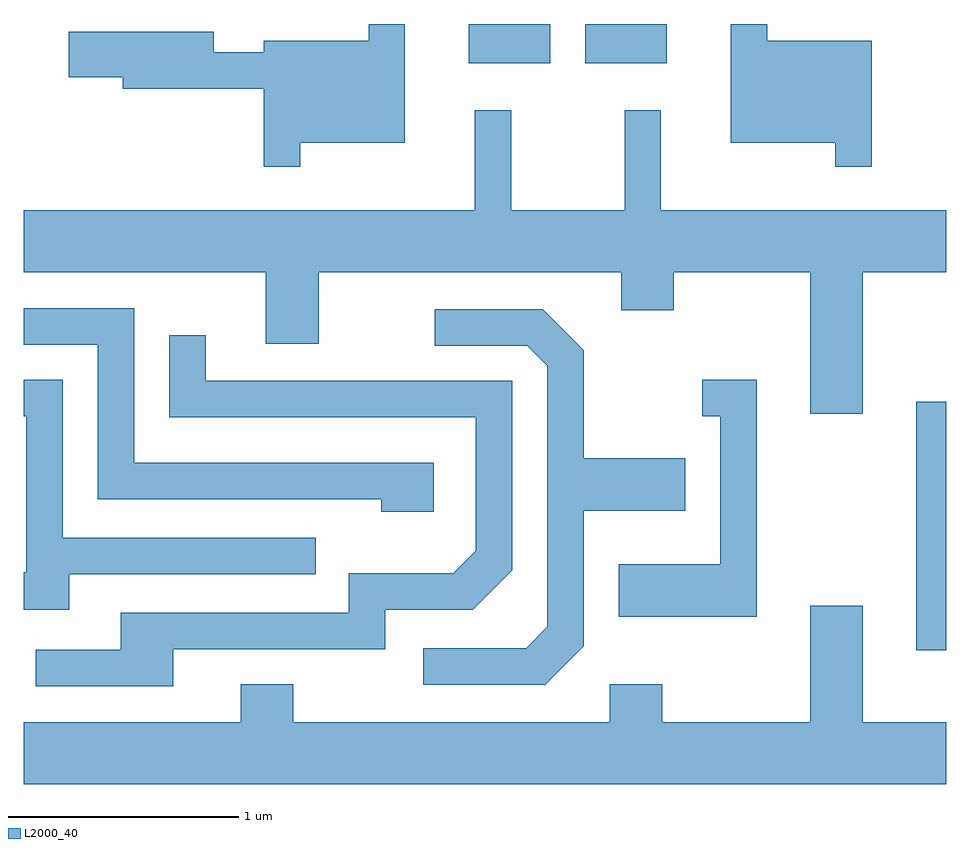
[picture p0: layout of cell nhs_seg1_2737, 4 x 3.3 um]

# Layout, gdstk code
import gdstk
lib = gdstk.Library(unit=1e-6, precision=1e-09)
def R(c, l, rs):  # rectangles x0, y0, x1, y1
    for r in rs: c.add(gdstk.rectangle(r[:2], r[2:], *l))
def P(c, l, *ps):  # polygons
    for p in ps: c.add(gdstk.Polygon(p, *l))
L2000_40 = (2000, 40)

nhs_seg1_2737 = lib.new_cell('nhs_seg1_2737')
R(nhs_seg1_2737, L2000_40, [(271.481,948.996,271.611,950.074), (269.541,951.541,269.894,951.712), (270.046,951.541,270.399,951.712)])
P(nhs_seg1_2737, L2000_40, [(268.809,951.196),(269.264,951.196),(269.264,951.712),(269.106,951.712),(269.106,951.639),(268.651,951.639),(268.651,951.589),(268.434,951.589),(268.434,951.679),(267.806,951.679),(267.806,951.481),(268.041,951.481),(268.041,951.431),(268.651,951.431),(268.651,951.093),(268.809,951.093)],
  [(271.289,951.639),(270.834,951.639),(270.834,951.712),(270.676,951.712),(270.676,951.196),(271.131,951.196),(271.131,951.093),(271.289,951.093)],
  [(271.249,950.636),(271.611,950.636),(271.611,950.904),(270.374,950.904),(270.374,951.338),(270.216,951.338),(270.216,950.904),(269.724,950.904),(269.724,951.338),(269.566,951.338),(269.566,950.904),(267.611,950.904),(267.611,950.636),(268.661,950.636),(268.661,950.326),(268.889,950.326),(268.889,950.636),(270.201,950.636),(270.201,950.471),(270.429,950.471),(270.429,950.636),(271.021,950.636),(271.021,950.021),(271.249,950.021)],
  [(269.389,949.809),(268.089,949.809),(268.089,950.479),(267.611,950.479),(267.611,950.321),(267.931,950.321),(267.931,949.651),(269.161,949.651),(269.161,949.596),(269.389,949.596)],
  [(270.039,949.014),(270.039,949.601),(270.479,949.601),(270.479,949.829),(270.039,949.829),(270.039,950.297),(269.862,950.474),(269.393,950.474),(269.393,950.316),(269.794,950.316),(269.881,950.229),(269.881,949.097),(269.789,949.004),(269.343,949.004),(269.343,948.846),(269.872,948.846)],
  [(268.259,949.001),(269.179,949.001),(269.179,949.171),(269.557,949.171),(269.729,949.344),(269.729,950.164),(268.399,950.164),(268.399,950.363),(268.241,950.363),(268.241,950.006),(269.571,950.006),(269.571,949.427),(269.474,949.329),(269.021,949.329),(269.021,949.159),(268.031,949.159),(268.031,948.999),(267.663,948.999),(267.663,948.841),(268.259,948.841)],
  [(267.809,949.326),(268.878,949.326),(268.878,949.484),(267.779,949.484),(267.779,950.169),(267.611,950.169),(267.611,950.011),(267.621,950.011),(267.621,949.334),(267.611,949.334),(267.611,949.171),(267.809,949.171)],
  [(270.789,950.169),(270.553,950.169),(270.553,950.011),(270.631,950.011),(270.631,949.369),(270.191,949.369),(270.191,949.141),(270.789,949.141)],
  [(271.611,948.684),(271.249,948.684),(271.249,949.189),(271.021,949.189),(271.021,948.684),(270.379,948.684),(270.379,948.849),(270.151,948.849),(270.151,948.684),(268.779,948.684),(268.779,948.849),(268.551,948.849),(268.551,948.684),(267.611,948.684),(267.611,948.416),(271.611,948.416)])

lib.write_gds('nhs_seg1_2737.gds')
